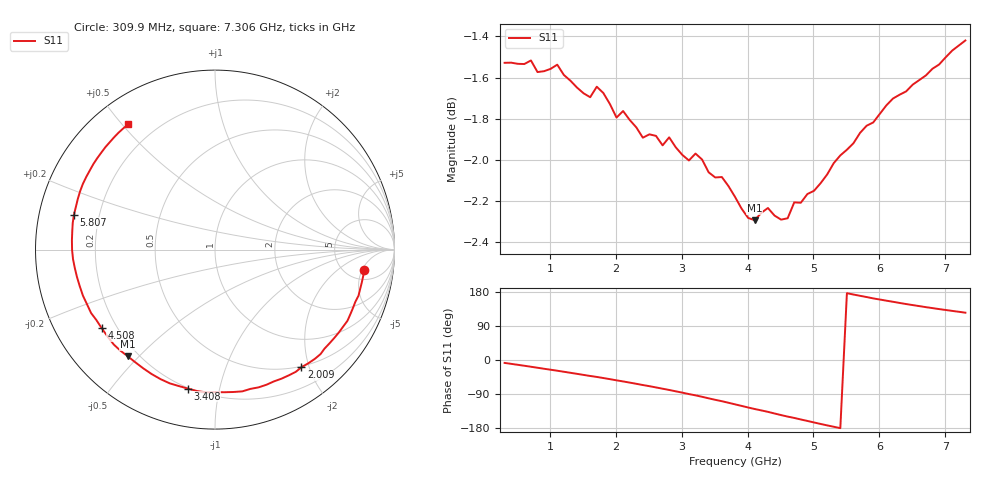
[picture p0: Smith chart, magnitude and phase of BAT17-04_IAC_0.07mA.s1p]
! Infineon Technologies  Discrete & RF Semiconductors
! BAT17-04
! IAC = 0.07 mA
! One-Port S-Parameters
# Hz  S  MA  R  50
!f  S11
!Hz  Mag  Ang
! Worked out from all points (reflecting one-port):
!   71 points, 309.9 MHz to 7.306 GHz, reference 50 ohm
!   lowest |S11| = -2.3 dB at 4.108 GHz (marker M1), VSWR 7.62, Z = 8 - j23.2 ohm
!   phase of S11 starts at -8 deg and turns -227 deg over the sweep
!   S11 on the Smith chart (normalised r, x): 309.9 MHz: 7.21, -5.46; 2.009 GHz: 0.49, -1.88; 3.408 GHz: 0.20, -0.80; 4.508 GHz: 0.14, -0.31; 5.807 GHz: 0.11, +0.12; 7.306 GHz: 0.10, +0.52
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3.0985e8  0.8386 -7.7
7.0965e8  0.8397 -17.8
1.10945e9  0.8378 -28.3
1.2094e9  0.833 -31.0
1.70915e9  0.8275 -44.7
2.009e9  0.8133 -53.7
2.10895e9  0.8163 -56.5
2.6087e9  0.805 -72.4
2.8086e9  0.8044 -79.1
3.0085e9  0.7965 -86.1
3.2084e9  0.7971 -93.3
3.4083e9  0.7888 -101.1
3.6082e9  0.7867 -108.7
3.8081e9  0.778 -117.0
4.10795e9  0.7679 -129.4
4.30785e9  0.7732 -136.8
4.50775e9  0.7682 -145.3
4.70765e9  0.7756 -152.9
4.90755e9  0.7793 -160.8
5.2074e9  0.7878 -172.6
5.4073e9  0.7963 -179.9
5.6072e9  0.8017 172.8
5.8071e9  0.8096 166.1
5.90705e9  0.8111 162.6
6.2069e9  0.822 153.6
6.50675e9  0.8285 144.9
6.90655e9  0.8378 134.4
7.30635e9  0.8492 124.8
